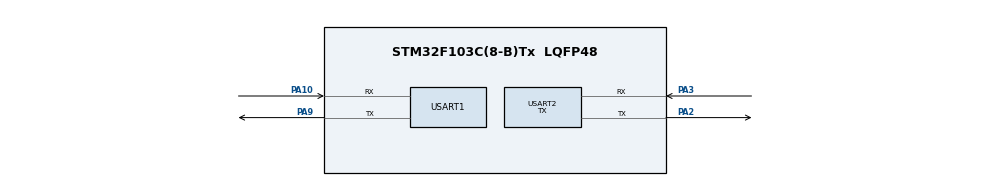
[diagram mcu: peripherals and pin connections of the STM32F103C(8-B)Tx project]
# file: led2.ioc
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Dma.Request0=USART1_RX
Dma.USART1_RX.0.Direction=DMA_PERIPH_TO_MEMORY
Dma.USART1_RX.0.Instance=DMA1_Channel5
Dma.USART1_RX.0.MemDataAlignment=DMA_MDATAALIGN_BYTE
Dma.USART1_RX.0.MemInc=DMA_MINC_ENABLE
Dma.USART1_RX.0.Mode=DMA_CIRCULAR
Dma.USART1_RX.0.PeriphDataAlignment=DMA_PDATAALIGN_BYTE
Dma.USART1_RX.0.PeriphInc=DMA_PINC_DISABLE
Dma.USART1_RX.0.Priority=DMA_PRIORITY_HIGH
Mcu.Family=STM32F1
Mcu.Name=STM32F103C(8-B)Tx
Mcu.Package=LQFP48
NVIC.DMA1_Channel5_IRQn=true\:0\:0\:false\:false\:true\:false\:true\:true
NVIC.PriorityGroup=NVIC_PRIORITYGROUP_4
NVIC.USART1_IRQn=true\:0\:0\:false\:false\:true\:true\:true\:true
PA10.Mode=Asynchronous
PA10.Signal=USART1_RX
PA2.Mode=Asynchronous
PA2.Signal=USART2_TX
PA3.Mode=Asynchronous
PA3.Signal=USART2_RX
PA9.Mode=Asynchronous
PA9.Signal=USART1_TX
ProjectManager.HeapSize=0x200
ProjectManager.StackSize=0x400
ProjectManager.TargetToolchain=STM32CubeIDE
RCC.APB1CLKDivider=RCC_HCLK_DIV2
RCC.APB1Freq_Value=4000000
RCC.APB1TimFreq_Value=8000000
RCC.APB2Freq_Value=8000000
USART1.VirtualMode=VM_ASYNC
USART2.Mode=MODE_TX
USART2.VirtualMode=VM_ASYNC
VP_SYS_VS_ND.Mode=No_Debug
board=custom

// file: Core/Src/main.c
/* USER CODE BEGIN Header */
/**
  ******************************************************************************
  * @file           : main.c
  * @brief          : Main program body
  ******************************************************************************
  * @attention
  *
  * Copyright (c) 2026 STMicroelectronics.
  * All rights reserved.
  *
  * This software is licensed under terms that can be found in the LICENSE file
  * in the root directory of this software component.
  * If no LICENSE file comes with this software, it is provided AS-IS.
  *
  ******************************************************************************
  */
/* USER CODE END Header */
#include "main.h"

/* USER CODE BEGIN Includes */
#define RING_BUFFER_SIZE 4096
#define DMA_BUFFER_SIZE 2048
/* USER CODE END Includes */

/* USER CODE BEGIN PTD */
    typedef struct
	{
    	uint8_t buffer[RING_BUFFER_SIZE];
    	uint16_t head;
    	uint16_t tail;

    }
    ring_buffer_t;
    ring_buffer_t uart_ring_buffer;

    typedef struct
   	{
       	uint8_t parameter_type;
       	uint8_t packet_type;
       	uint8_t packet_id;

       }
       protocol_frame_t;
       protocol_frame_t frame;

   static uint16_t g_dma_old_pos=0;
   static volatile uint16_t g_dma_size=0;
   static volatile uint8_t rx_event_flag=0;
   static volatile uint8_t frame_ready_flag=0;

   static uint8_t g_dma_buffer[DMA_BUFFER_SIZE];
   static uint8_t g_parser_buffer[64];

   // SPO2 - 10 Byte Command Database

   static const uint8_t spo2_database[][10] ={
   {0xFA, 0x0A, 0x03, 0x01, 0x01, 0x00, 0x00, 0x00, 0x00, 0x09}, //DC01-Handshake
   {0xFA, 0x0A, 0x03, 0x02, 0x03, 0x00, 0x00, 0x00, 0x00, 0x0C} //DR03-Self Test Request
   };

   // SPO2 - Patient Type Configuration(11 bytes)

   static const uint8_t spo2_patient_type[][11] = {
   {0xFA, 0x0B, 0x03, 0x01, 0x04, 0x00, 0x00, 0x00, 0x00, 0x00, 0x0D},  //Adult
   {0xFA, 0x0B, 0x03, 0x01, 0x04, 0x00, 0x01, 0x00, 0x00, 0x00, 0x0E},  // Children
   {0xFA, 0x0B, 0x03, 0x01, 0x04, 0x00, 0x02, 0x00, 0x00, 0x00, 0x0F}   //Neonate
   };

   // SPO2 - Sensitivity Configuration (11 bytes)

   static const uint8_t spo2_sensitivity[][11] =
   {
       {0xFA, 0x0B, 0x03, 0x01, 0x05, 0x00, 0x00, 0x00, 0x00, 0x00, 0x0E},  // Low
       {0xFA, 0x0B, 0x03, 0x01, 0x05, 0x00, 0x00, 0x00, 0x00, 0x01, 0x0F},  //Middle
       {0xFA, 0x0B, 0x03, 0x01, 0x05, 0x00, 0x00, 0x00, 0x00, 0x02, 0x10},  //High
       {0xFA, 0x0B, 0x03, 0x01, 0x05, 0x00, 0x00, 0x00, 0x00, 0x03, 0x11}  //Highest
   };

   // NIBP - 10 Byte Command Database

   static const uint8_t nibp_database[][10] ={
   {0xFA, 0x0A, 0x02, 0x01, 0x01, 0x00, 0x00, 0x00, 0x00, 0x08}, // DC01-Handshake
   {0xFA, 0x0A, 0x02, 0x01, 0x02, 0x00, 0x00, 0x00, 0x00, 0x09}, // DC01-start measurement
   {0xFA, 0x0A, 0x02, 0x02, 0x03, 0x00, 0x00, 0x00, 0x00, 0x0B}, // DR03-Final result request
   {0xFA, 0x0A, 0x02, 0x01, 0x20, 0x00, 0x00, 0x00, 0x00, 0x27} // DC20-stop measurement
   };

   // NIBP - Patient Type Configuration(11 bytes)

   static const uint8_t nibp_patient_type[][11]= {
   {0xFA, 0x0B, 0x02, 0x01, 0x10, 0x00, 0x00, 0x00, 0x00, 0x01, 0x19}, // DC00-Adult
   {0xFA, 0x0B, 0x02, 0x01, 0x10, 0x00, 0x00, 0x00, 0x00, 0x02, 0x1A}, // DC02-Child
   {0xFA, 0x0B, 0x02, 0x01, 0x10, 0x00, 0x00, 0x00, 0x00, 0x03, 0x1C} //DC01-Neonate
   };

   //Updated by:  (SPO2 Real-Time Information)
   typedef struct
   {
       uint16_t PR;      // BPM
       uint8_t spo2;     // SpO2 (%)
       uint16_t PI;      // PI
       uint8_t status1;
       uint8_t status2;
       uint8_t handshakestatus;      //box will be displayed on screen basedon timing
       uint8_t pulseWaveform;
       uint8_t pulseTone;
       uint8_t barGraph;
       uint8_t selfTestResult;
   }
       SPO2_Result_t;
       SPO2_Result_t spo2;
   //Updated by: DA83 – NIBP Measurement Result
   typedef struct {
       uint16_t SYS; // SYS (mmHg)
       uint16_t MAP; // MAP (mmHg)
       uint16_t DIA; // DIA (mmHg)
       uint16_t PI;  // BPM
       uint8_t patient_type;
       uint8_t errorCode;
       uint8_t measurement_Status;
       uint8_t measurement_result_Status;
       uint16_t cuffPressure; // Current cuff pressure (mmHg)
       uint8_t cuffTypeError;
       uint8_t systemStatus;
       uint8_t handshake;
       uint8_t operationtype;
       uint8_t start_end_Status;
   }
       NIBP_Result_t;
       NIBP_Result_t nibp;

/* USER CODE END PTD */

UART_HandleTypeDef huart1;
UART_HandleTypeDef huart2;
DMA_HandleTypeDef hdma_usart1_rx;

void SystemClock_Config(void);
static void MX_GPIO_Init(void);
static void MX_DMA_Init(void);
static void MX_USART1_UART_Init(void);
static void MX_USART2_UART_Init(void);
/* USER CODE BEGIN PFP */
static void Ring_buffer_init(ring_buffer_t *l_ring_buffer);
static void Ring_buffer_write(ring_buffer_t *l_ring_buffer, uint8_t *data, uint16_t len);
static uint16_t Ring_buffer_count(ring_buffer_t *l_ring_buffer );
static void Ring_buffer_read(ring_buffer_t *l_ring_buffer, uint8_t *l_parser_buffer, uint16_t start_pos, uint16_t len);
static void Ring_handler(void);
static void packet_dispatcher(uint8_t *l_parser_buffer);
static void ecg_handler(void);
static void spo2_handler(void);
static void nibp_handler(void);
static uint8_t Checksum(uint8_t *l_parser_buffer);
/* USER CODE END PFP */

int main(void)
{

  /* MCU Configuration--------------------------------------------------------*/

  /* Reset of all peripherals, Initializes the Flash interface and the Systick. */
  HAL_Init();

  /* Configure the system clock */
  SystemClock_Config();

  /* Initialize all configured peripherals */
  MX_GPIO_Init();
  MX_DMA_Init();
  MX_USART1_UART_Init();
  MX_USART2_UART_Init();
  /* USER CODE BEGIN 2 */
  Ring_buffer_init(&uart_ring_buffer);
  memset( g_dma_buffer, 0, sizeof( g_dma_buffer));
  HAL_UARTEx_ReceiveToIdle_DMA(&huart1, g_dma_buffer, DMA_BUFFER_SIZE );
  __HAL_DMA_DISABLE_IT(huart1.hdmarx, DMA_IT_HT);
  /* USER CODE END 2 */

  /* Infinite loop */
  /* USER CODE BEGIN WHILE */
  while (1)
  {
	 if(rx_event_flag==1)
	 {
		 Ring_handler();
	 }

    /* USER CODE END WHILE */

  }
}

void SystemClock_Config(void)
{
  RCC_OscInitTypeDef RCC_OscInitStruct = {0};
  RCC_ClkInitTypeDef RCC_ClkInitStruct = {0};

  /** Initializes the RCC Oscillators according to the specified parameters
  * in the RCC_OscInitTypeDef structure.
  */
  RCC_OscInitStruct.OscillatorType = RCC_OSCILLATORTYPE_HSI;
  RCC_OscInitStruct.HSIState = RCC_HSI_ON;
  RCC_OscInitStruct.HSICalibrationValue = RCC_HSICALIBRATION_DEFAULT;
  RCC_OscInitStruct.PLL.PLLState = RCC_PLL_NONE;
  if (HAL_RCC_OscConfig(&RCC_OscInitStruct) != HAL_OK)
  {
    Error_Handler();
  }

  /** Initializes the CPU, AHB and APB buses clocks
  */
  RCC_ClkInitStruct.ClockType = RCC_CLOCKTYPE_HCLK|RCC_CLOCKTYPE_SYSCLK
                              |RCC_CLOCKTYPE_PCLK1|RCC_CLOCKTYPE_PCLK2;
  RCC_ClkInitStruct.SYSCLKSource = RCC_SYSCLKSOURCE_HSI;
  RCC_ClkInitStruct.AHBCLKDivider = RCC_SYSCLK_DIV1;
  RCC_ClkInitStruct.APB1CLKDivider = RCC_HCLK_DIV2;
  RCC_ClkInitStruct.APB2CLKDivider = RCC_HCLK_DIV1;

  if (HAL_RCC_ClockConfig(&RCC_ClkInitStruct, FLASH_LATENCY_0) != HAL_OK)
  {
    Error_Handler();
  }
}

static void MX_USART1_UART_Init(void)
{

  huart1.Instance = USART1;
  huart1.Init.BaudRate = 115200;
  huart1.Init.WordLength = UART_WORDLENGTH_8B;
  huart1.Init.StopBits = UART_STOPBITS_1;
  huart1.Init.Parity = UART_PARITY_NONE;
  huart1.Init.Mode = UART_MODE_TX_RX;
  huart1.Init.HwFlowCtl = UART_HWCONTROL_NONE;
  huart1.Init.OverSampling = UART_OVERSAMPLING_16;
  if (HAL_UART_Init(&huart1) != HAL_OK)
  {
    Error_Handler();
  }

}

static void MX_USART2_UART_Init(void)
{

  huart2.Instance = USART2;
  huart2.Init.BaudRate = 115200;
  huart2.Init.WordLength = UART_WORDLENGTH_8B;
  huart2.Init.StopBits = UART_STOPBITS_1;
  huart2.Init.Parity = UART_PARITY_NONE;
  huart2.Init.Mode = UART_MODE_TX;
  huart2.Init.HwFlowCtl = UART_HWCONTROL_NONE;
  huart2.Init.OverSampling = UART_OVERSAMPLING_16;
  if (HAL_UART_Init(&huart2) != HAL_OK)
  {
    Error_Handler();
  }

}

static void MX_DMA_Init(void)
{

  /* DMA controller clock enable */
  __HAL_RCC_DMA1_CLK_ENABLE();

  /* DMA interrupt init */
  /* DMA1_Channel5_IRQn interrupt configuration */
  HAL_NVIC_SetPriority(DMA1_Channel5_IRQn, 0, 0);
  HAL_NVIC_EnableIRQ(DMA1_Channel5_IRQn);

}

static void MX_GPIO_Init(void)
{

  /* GPIO Ports Clock Enable */
  __HAL_RCC_GPIOA_CLK_ENABLE();

}

/* USER CODE BEGIN 4 */
void HAL_UARTEx_RxEventCallback(UART_HandleTypeDef *huart, uint16_t Size)
{

    if (huart->Instance == USART1) {
        rx_event_flag = 1;
        g_dma_size= Size;

    }
}

void HAL_UART_RxHalfCpltCallback(UART_HandleTypeDef *huart)
{
	 rx_event_flag = 1;
}

void HAL_UART_RxCpltCallback(UART_HandleTypeDef *huart)
{
	rx_event_flag = 1;
}

static void Ring_buffer_init(ring_buffer_t *l_ring_buffer)
{
    l_ring_buffer->head=0;
    l_ring_buffer->tail=0;
}

static uint16_t Ring_buffer_count(ring_buffer_t *l_ring_buffer) {
    if (l_ring_buffer->head >= l_ring_buffer->tail) {
        return l_ring_buffer->head - l_ring_buffer->tail;
    } else {
        return (RING_BUFFER_SIZE - l_ring_buffer->tail) + l_ring_buffer->head;
    }
}

static void Ring_buffer_write(ring_buffer_t *l_ring_buffer, uint8_t *data, uint16_t len)
{
	  for (uint16_t i = 0; i < len; i++) {
	        uint16_t next_head = (l_ring_buffer->head + 1) % RING_BUFFER_SIZE;

	        if (next_head == l_ring_buffer->tail) {
	           // rx_overflow_count++;
	            continue;
	        }

	        l_ring_buffer->buffer[l_ring_buffer->head] = data[i];
	        l_ring_buffer->head = next_head;
	    }
}

static void Ring_buffer_read(ring_buffer_t *l_ring_buffer, uint8_t *l_parser_buffer, uint16_t start_pos, uint16_t len)
{
    uint16_t i;

    for (i = 0; i < len; i++)
    {
        l_parser_buffer[i] = l_ring_buffer->buffer[(start_pos + i) % RING_BUFFER_SIZE];
    }
    l_ring_buffer->tail = (start_pos + len) % RING_BUFFER_SIZE;

   // frame_ready_flag=1;

   // HAL_UART_Transmit_IT(&huart2, g_parser_buffer, len); //debug but turned off the

}

static uint8_t Checksum(uint8_t *l_parser_buffer)
{
    uint8_t length, received_checksum, calculated_checksum, i;
    uint16_t sum = 0;

    length = l_parser_buffer[1];
    received_checksum = l_parser_buffer[length - 1];

    for (i = 0; i < (length - 1); i++)
    {
        sum += l_parser_buffer[i];
    }

    calculated_checksum = (uint8_t)sum;

    if (calculated_checksum == received_checksum)
    {
        return 1;
    }

    return 0;
}

static void packet_dispatcher(uint8_t *l_parser_buffer)
{
	frame_ready_flag=0;
	frame.parameter_type = l_parser_buffer[2];
	frame.packet_type= l_parser_buffer[3];
	frame.packet_id=l_parser_buffer[4];

	switch(frame.parameter_type)
	{
	case 0x01:
		ecg_handler();
		break;

	case 0x02:
		spo2_handler();
		break;

	case 0x03:
		nibp_handler();
		break;

	default:
		 /* unknown parameter type - ignored intentionally */
        break;

	}
}

static void ecg_handler(void)
{
	if(frame.packet_type==0x04)
	{
		switch(frame.packet_id)
			{
			case 0x90:
				//ecg_handler();
				break;

			case 0x91:
				//spo2_handler();
				break;

			case 0x92:
				//nibp_handler();
				break;

			case 0x96:
				//ecg_handler();
				break;

			case 0x98:
				//spo2_handler();
				break;

			case 0x99:
				//nibp_handler();
				break;

			default:
			        /* unknown parameter type - ignored intentionally */
			    break;

			}
	}
	else if(frame.packet_type==0x03)
		{
		switch(frame.packet_id)
					{
					case 0x80:
					//	ecg_handler();
						break;

					default:
					        /* unknown parameter type - ignored intentionally */
					   break;

					}

		}

}

static void spo2_handler(void)
{
	if(frame.packet_type==0x04)
	{
		switch(frame.packet_id)
			{
			case 0x81:
				HAL_UART_Transmit_DMA(&huart1, spo2_database[0], 10);
				break;

			case 0x84:
			     spo2.pulseWaveform=g_parser_buffer[9];
			     spo2.pulseTone=g_parser_buffer[9];
			     spo2.barGraph=g_parser_buffer[9];
				break;

			case 0x85:
				spo2.PR=(g_parser_buffer[10]<<8) | g_parser_buffer[9];
				spo2.spo2=g_parser_buffer[11];
				spo2.PI=(g_parser_buffer[13]<<8) | g_parser_buffer[12];
				spo2.status1=g_parser_buffer[14];
				spo2.status2=g_parser_buffer[15];
				break;

			default:
			        /* unknown parameter type - ignored intentionally */
			    break;

			}
	}
	else if(frame.packet_type==0x03)
		{
		switch(frame.packet_id)
					{
					case 0x80:
					  spo2.handshakestatus=g_parser_buffer[9];
					  if(spo2.handshakestatus==0x80)
					  {
						  //configuration can be done like self test etc..  and set the flag..
					  }
					  else
					  {
						  HAL_UART_Transmit_DMA(&huart1, spo2_database[0], 10);
					  }
						break;

					case 0x83:
					//	rom ram cpu suceed based on first 4bits
						break;

					default:
					        /* unknown parameter type - ignored intentionally */
					    break;
					}
		}

}

static void nibp_handler(void)
{
	if(frame.packet_type==0x04)
	{
		switch(frame.packet_id)
			{
			case 0x81:
				HAL_UART_Transmit_DMA(&huart1, nibp_database[0], 10);
				break;

			case 0x84:
				nibp.cuffPressure =(g_parser_buffer[10]<<8) | g_parser_buffer[9];
				nibp.cuffTypeError=g_parser_buffer[11];
				nibp.systemStatus=g_parser_buffer[12];//different system operation process
				break;

			case 0x86:
				nibp.operationtype=g_parser_buffer[9];
				nibp.start_end_Status=g_parser_buffer[10];
				if(nibp.start_end_Status==0x00)
				{
					HAL_UART_Transmit_DMA(&huart1, nibp_database[2], 10);
				}
				break;

			default:
			        /* unknown parameter type - ignored intentionally */
			    break;

			}
	}

	else if(frame.packet_type==0x03)
		{
		switch(frame.packet_id)
					{
					case 0x80:
						spo2.handshakestatus=g_parser_buffer[9];
	                     if(spo2.handshakestatus==0x08)
						  {
												  //configuration can be done
						  }
					    else
						  {
						  HAL_UART_Transmit_DMA(&huart1, spo2_database[0], 10);
						  }
						break;

					case 0x83:
					nibp.SYS=(g_parser_buffer[10]<<8) | g_parser_buffer[9];
					nibp.DIA=(g_parser_buffer[12]<<8) | g_parser_buffer[11];
					nibp.MAP=(g_parser_buffer[14]<<8) | g_parser_buffer[13];
					nibp.PI=(g_parser_buffer[16]<<8) | g_parser_buffer[15];
					nibp.patient_type=g_parser_buffer[17];
					nibp.errorCode=g_parser_buffer[18];
					nibp.measurement_Status=g_parser_buffer[19];
					nibp.measurement_result_Status=g_parser_buffer[20];
						break;

					default:
					        /* unknown parameter type - ignored intentionally */
					    break;
					}
		}

}

static void Ring_handler(void)
{
	uint16_t len,len1,len2;
	uint16_t available_data,length_index;
	uint8_t fa_found_flag=0;
	uint16_t frame_total_len=0;
	uint16_t fa_pos=0;
	uint8_t validate;

	rx_event_flag=0;
	if(g_dma_size>g_dma_old_pos)
	{
		len = g_dma_size - g_dma_old_pos;
	    Ring_buffer_write(&uart_ring_buffer , &g_dma_buffer[g_dma_old_pos],  len);
	}
	else
	{
		len1= DMA_BUFFER_SIZE - g_dma_old_pos;
		Ring_buffer_write(&uart_ring_buffer , &g_dma_buffer[g_dma_old_pos],  len1);

	    len2=g_dma_size;
	    if(len2>0)
	    {
	    	Ring_buffer_write(&uart_ring_buffer , &g_dma_buffer[0],  len2);
	    }

	}

	if(g_dma_size==DMA_BUFFER_SIZE)
	{
		g_dma_old_pos=0;
	}
	else
	{
		g_dma_old_pos=g_dma_size;
	}

	//

	//set the flag for read
//-----------------
	available_data = Ring_buffer_count(&uart_ring_buffer);

	for( ; available_data>=10; available_data--)
	{
		if(uart_ring_buffer.buffer[uart_ring_buffer.tail]==0xFA)
		{
			 fa_pos= uart_ring_buffer.tail ;
		     length_index = (uart_ring_buffer.tail + 1) % RING_BUFFER_SIZE;
		     frame_total_len = uart_ring_buffer.buffer[length_index];
		     fa_found_flag=1;
			break;
		}
		uart_ring_buffer.tail = (uart_ring_buffer.tail + 1) % RING_BUFFER_SIZE;
	}

	if(fa_found_flag==1)
	{
		fa_found_flag=0;

    if ( frame_total_len < 10 ||  frame_total_len > 28) {
        uart_ring_buffer.tail = (uart_ring_buffer.tail + 1) % RING_BUFFER_SIZE;
        return;
    }

    if (available_data < frame_total_len) {
        return;   // header found, but frame not fully arrived yet — wait
    }

    Ring_buffer_read(&uart_ring_buffer, g_parser_buffer, fa_pos, frame_total_len);
      validate = Checksum(g_parser_buffer);
		if(validate)
		{
			frame_ready_flag=1;
		}
   // ring_buffer_ready_flag=1;
	}

   //read

}

/* USER CODE END 4 */

void Error_Handler(void)
{
  __disable_irq();
  while (1)
  {
  }
}
